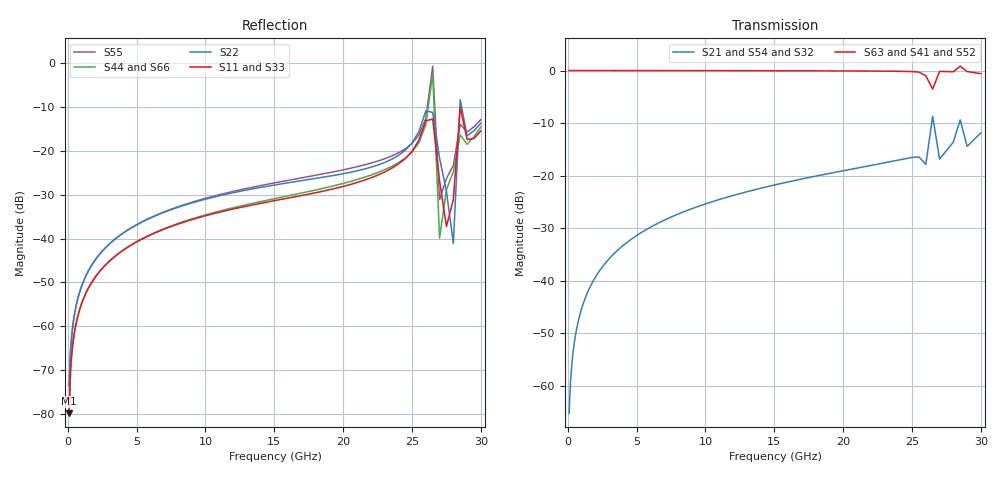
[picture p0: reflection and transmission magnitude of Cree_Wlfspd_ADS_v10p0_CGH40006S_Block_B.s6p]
!AWR Design Environment (4254) Tue Jan 20 11:18:40 2009
!freq-unit  param-type  data-format  keyword  impedance-ohms
# GHz  S  MA  R  50
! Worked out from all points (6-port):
!   140 points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, 100 MHz to 30 GHz, reference 50 ohm
!   strongest paths, dB at 100 MHz, 3.6 GHz, 7.1 GHz, 13 GHz, 30 GHz:
!     S63: 0.0, 0.0, 0.0, 0.0, -0.6
!     S41: 0.0, 0.0, 0.0, 0.0, -0.6
!     S52: 0.0, 0.0, 0.0, -0.1, -0.9
!     S21: -65.3, -34.3, -28.4, -23.1, -11.9
!     S54: -65.3, -34.3, -28.4, -23.1, -11.7
!     S32: -65.3, -34.3, -28.4, -23.1, -11.6
!   lowest |S11| = -79.9 dB at 100 MHz (marker M1), VSWR 1.00, Z = 50 - j0.0101 ohm
!   |S11| at or under -10 dB: start of sweep to end of sweep
